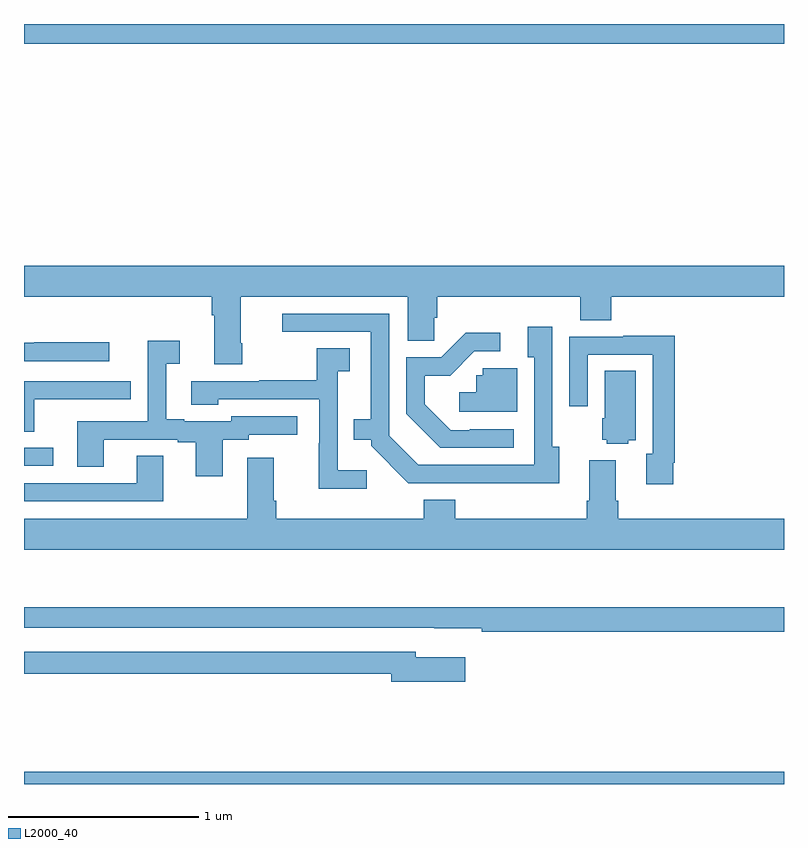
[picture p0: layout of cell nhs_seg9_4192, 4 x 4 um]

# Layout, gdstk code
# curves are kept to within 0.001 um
import gdstk
lib = gdstk.Library(unit=1e-6, precision=1e-09)
def R(c, l, rs):  # rectangles x0, y0, x1, y1
    for r in rs: c.add(gdstk.rectangle(r[:2], r[2:], *l))
def P(c, l, *ps):  # polygons
    for p in ps: c.add(gdstk.Polygon(p, *l))
L2000_40 = (2000, 40)

nhs_seg9_4192 = lib.new_cell('nhs_seg9_4192')
R(nhs_seg9_4192, L2000_40, [(351,1216.5,355,1216.564), (351,1218.174,351.154,1218.27), (351,1220.396,355,1220.5)])
P(nhs_seg9_4192, L2000_40, [(352.149,1218.82),(352.141,1218.82),(352.141,1219.064),(353.021,1219.064),(353.021,1218.832),(353.159,1218.832),(353.159,1218.954),(353.174,1218.954),(353.174,1219.064),(353.927,1219.064),(353.927,1218.94),(354.092,1218.94),(354.092,1219.064),(355,1219.064),(355,1219.228),(351,1219.228),(351,1219.064),(351.989,1219.064),(351.989,1218.968),(352.001,1218.968),(352.001,1218.708),(352.149,1218.708)],
  [(353.818,1218.274),(353.781,1218.274),(353.781,1218.907),(353.651,1218.907),(353.651,1218.746),(353.685,1218.746),(353.685,1218.18),(353.076,1218.18),(352.923,1218.333),(352.923,1218.975),(352.359,1218.975),(352.359,1218.879),(352.826,1218.879),(352.826,1218.421),(352.735,1218.421),(352.735,1218.311),(352.827,1218.311),(352.827,1218.279),(353.022,1218.084),(353.818,1218.083)],
  [(353.578,1218.366),(353.347,1218.366),(353.347,1218.363),(353.247,1218.363),(353.11,1218.5),(353.11,1218.65),(353.243,1218.65),(353.37,1218.777),(353.506,1218.777),(353.506,1218.875),(353.324,1218.875),(353.196,1218.747),(353.013,1218.747),(353.013,1218.449),(353.192,1218.27),(353.578,1218.27)],
  [(354.418,1218.19),(354.425,1218.19),(354.425,1218.859),(354.155,1218.859),(354.155,1218.855),(353.871,1218.855),(353.871,1218.489),(353.967,1218.489),(353.967,1218.759),(354.309,1218.759),(354.309,1218.239),(354.275,1218.239),(354.275,1218.078),(354.418,1218.078)],
  [(352.045,1218.312),(352.182,1218.312),(352.182,1218.339),(352.438,1218.339),(352.438,1218.435),(352.092,1218.435),(352.092,1218.408),(351.844,1218.408),(351.844,1218.421),(351.748,1218.421),(351.748,1218.712),(351.82,1218.712),(351.82,1218.832),(351.651,1218.832),(351.651,1218.408),(351.281,1218.408),(351.281,1218.169),(351.421,1218.169),(351.421,1218.312),(351.809,1218.312),(351.809,1218.3),(351.905,1218.3),(351.905,1218.12),(352.045,1218.12)],
  [(351.448,1218.825),(351.055,1218.825),(351.055,1218.822),(351,1218.822),(351,1218.726),(351.448,1218.726)],
  [(352.804,1218.151),(352.65,1218.151),(352.65,1218.673),(352.714,1218.673),(352.714,1218.794),(352.542,1218.794),(352.542,1218.624),(352.237,1218.624),(352.237,1218.621),(351.879,1218.621),(351.879,1218.497),(352.023,1218.497),(352.023,1218.525),(352.554,1218.525),(352.554,1218.293),(352.552,1218.293),(352.552,1218.053),(352.804,1218.053)],
  [(353.596,1218.687),(353.415,1218.687),(353.415,1218.651),(353.379,1218.651),(353.379,1218.562),(353.292,1218.562),(353.292,1218.459),(353.596,1218.459)],
  [(354.18,1218.308),(354.22,1218.308),(354.22,1218.674),(354.056,1218.674),(354.056,1218.426),(354.044,1218.426),(354.044,1218.312),(354.066,1218.312),(354.066,1218.29),(354.18,1218.29)],
  [(351.054,1218.525),(351.449,1218.525),(351.449,1218.526),(351.562,1218.526),(351.562,1218.621),(351,1218.621),(351,1218.355),(351.054,1218.355)],
  [(351.733,1218.227),(351.593,1218.227),(351.593,1218.084),(351,1218.084),(351,1217.988),(351.733,1217.988)],
  [(355,1217.896),(354.128,1217.896),(354.128,1217.992),(354.115,1217.992),(354.115,1218.205),(353.975,1218.205),(353.975,1217.992),(353.963,1217.992),(353.963,1217.896),(353.27,1217.896),(353.27,1217.995),(353.105,1217.995),(353.105,1217.896),(352.328,1217.896),(352.328,1217.992),(352.315,1217.992),(352.315,1218.217),(352.175,1218.217),(352.175,1217.896),(351,1217.896),(351,1217.732),(355,1217.732)],
  [(355,1217.431),(351,1217.431),(351,1217.322),(353.158,1217.322),(353.158,1217.321),(353.41,1217.321),(353.41,1217.302),(355,1217.302)],
  [(353.323,1217.167),(353.062,1217.167),(353.062,1217.196),(351,1217.196),(351,1217.08),(352.934,1217.08),(352.934,1217.038),(353.323,1217.038)])

lib.write_gds('nhs_seg9_4192.gds')
